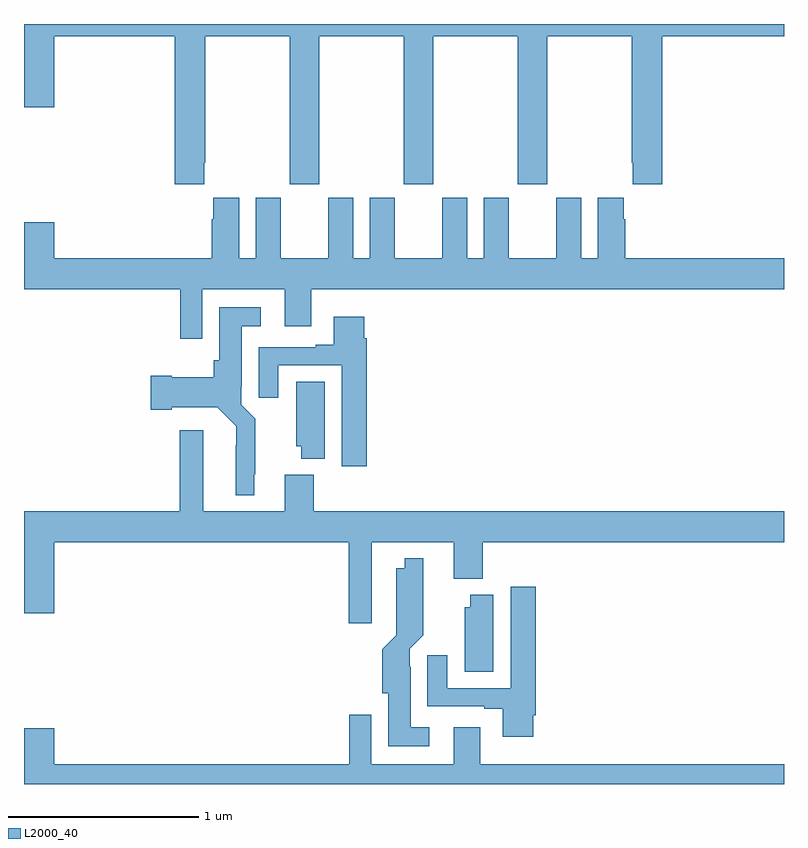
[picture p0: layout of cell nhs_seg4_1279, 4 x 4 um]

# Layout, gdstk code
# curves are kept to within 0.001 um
import gdstk
lib = gdstk.Library(unit=1e-6, precision=1e-09)
def P(c, l, *ps):  # polygons
    for p in ps: c.add(gdstk.Polygon(p, *l))
L2000_40 = (2000, 40)

nhs_seg4_1279 = lib.new_cell('nhs_seg4_1279')
P(nhs_seg4_1279, L2000_40, [(177.949,780.169),(177.954,780.169),(177.954,780.836),(178.399,780.836),(178.399,780.057),(178.554,780.057),(178.554,780.836),(178.999,780.836),(178.999,780.057),(179.154,780.057),(179.154,780.836),(179.599,780.836),(179.599,780.057),(179.754,780.057),(179.754,780.836),(180.199,780.836),(180.199,780.169),(180.203,780.169),(180.203,780.057),(180.359,780.057),(180.359,780.836),(181,780.836),(181,780.9),(177,780.9),(177,780.462),(177.16,780.462),(177.16,780.836),(177.794,780.836),(177.794,780.057),(177.949,780.057)],
  [(177.939,779.504),(178.373,779.504),(178.373,779.31),(178.513,779.31),(178.513,779.504),(181,779.504),(181,779.668),(180.164,779.668),(180.164,779.873),(180.157,779.873),(180.157,779.986),(180.02,779.986),(180.02,779.668),(179.932,779.668),(179.932,779.986),(179.801,779.986),(179.801,779.668),(179.551,779.668),(179.551,779.986),(179.42,779.986),(179.42,779.668),(179.332,779.668),(179.332,779.986),(179.201,779.986),(179.201,779.668),(178.951,779.668),(178.951,779.986),(178.82,779.986),(178.82,779.668),(178.732,779.668),(178.732,779.986),(178.601,779.986),(178.601,779.668),(178.351,779.668),(178.351,779.986),(178.22,779.986),(178.22,779.668),(178.132,779.668),(178.132,779.986),(177.995,779.986),(177.995,779.873),(177.989,779.873),(177.989,779.668),(177.16,779.668),(177.16,779.857),(177,779.857),(177,779.504),(177.823,779.504),(177.823,779.244),(177.939,779.244)],
  [(178.213,778.531),(178.217,778.531),(178.217,778.822),(178.143,778.896),(178.143,778.99),(178.147,778.99),(178.147,779.309),(178.246,779.309),(178.246,779.41),(178.028,779.41),(178.028,779.13),(177.998,779.13),(177.998,779.041),(177.778,779.041),(177.778,779.049),(177.666,779.049),(177.666,778.871),(177.778,778.871),(177.778,778.883),(178.017,778.883),(178.116,778.784),(178.115,778.421),(178.213,778.421)],
  [(178.805,779.246),(178.792,779.246),(178.792,779.359),(178.631,779.359),(178.631,779.212),(178.535,779.212),(178.535,779.199),(178.235,779.199),(178.235,778.932),(178.339,778.932),(178.339,779.103),(178.673,779.103),(178.673,778.572),(178.805,778.572)],
  [(178.582,779.018),(178.433,779.018),(178.433,778.677),(178.46,778.677),(178.46,778.613),(178.582,778.613)],
  [(178.831,778.172),(179.261,778.172),(179.261,777.98),(179.414,777.98),(179.414,778.172),(181,778.172),(181,778.336),(178.526,778.336),(178.526,778.528),(178.373,778.528),(178.373,778.336),(177.943,778.336),(177.943,778.762),(177.821,778.762),(177.821,778.336),(177,778.336),(177,777.798),(177.16,777.798),(177.16,778.172),(178.709,778.172),(178.709,777.747),(178.831,777.747)],
  [(179.134,777.199),(179.035,777.199),(179.035,777.518),(179.031,777.518),(179.031,777.612),(179.101,777.682),(179.1,778.087),(179.003,778.087),(179.003,778.036),(178.958,778.036),(178.958,777.682),(178.886,777.61),(178.886,777.378),(178.916,777.378),(178.916,777.098),(179.134,777.098)],
  [(179.68,777.262),(179.693,777.262),(179.693,777.937),(179.561,777.937),(179.561,777.405),(179.227,777.405),(179.227,777.577),(179.123,777.577),(179.123,777.309),(179.423,777.309),(179.423,777.297),(179.519,777.297),(179.519,777.15),(179.68,777.15)],
  [(179.47,777.895),(179.348,777.895),(179.348,777.831),(179.321,777.831),(179.321,777.49),(179.47,777.49)],
  [(181,777.004),(179.401,777.004),(179.401,777.199),(179.261,777.199),(179.261,777.004),(178.827,777.004),(178.827,777.265),(178.711,777.265),(178.711,777.004),(177.16,777.004),(177.16,777.193),(177,777.193),(177,776.9),(181,776.9)])

lib.write_gds('nhs_seg4_1279.gds')
